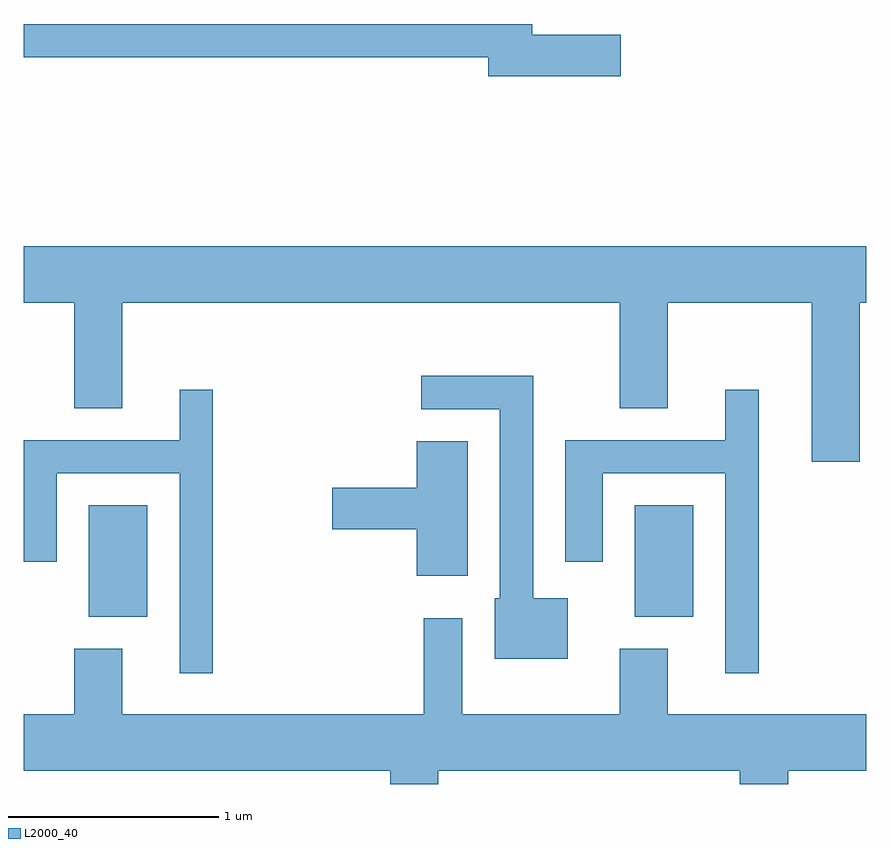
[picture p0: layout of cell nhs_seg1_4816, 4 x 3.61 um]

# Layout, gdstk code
import gdstk
lib = gdstk.Library(unit=1e-6, precision=1e-09)
def R(c, l, rs):  # rectangles x0, y0, x1, y1
    for r in rs: c.add(gdstk.rectangle(r[:2], r[2:], *l))
def P(c, l, *ps):  # polygons
    for p in ps: c.add(gdstk.Polygon(p, *l))
L2000_40 = (2000, 40)

nhs_seg1_4816 = lib.new_cell('nhs_seg1_4816')
R(nhs_seg1_4816, L2000_40, [(329.921,922.506,330.199,923.034), (332.511,922.506,332.789,923.034)])
P(nhs_seg1_4816, L2000_40, [(332.444,925.269),(332.024,925.269),(332.024,925.319),(329.611,925.319),(329.611,925.161),(331.816,925.161),(331.816,925.071),(332.444,925.071)],
  [(333.579,923.996),(333.611,923.996),(333.611,924.264),(329.611,924.264),(329.611,923.996),(329.851,923.996),(329.851,923.496),(330.079,923.496),(330.079,923.996),(332.441,923.996),(332.441,923.496),(332.669,923.496),(332.669,923.996),(333.351,923.996),(333.351,923.241),(333.579,923.241)],
  [(332.194,922.594),(332.029,922.594),(332.029,923.649),(331.498,923.649),(331.498,923.491),(331.871,923.491),(331.871,922.594),(331.846,922.594),(331.846,922.306),(332.194,922.306)],
  [(333.099,923.583),(332.941,923.583),(332.941,923.344),(332.181,923.344),(332.181,922.766),(332.359,922.766),(332.359,923.186),(332.941,923.186),(332.941,922.238),(333.099,922.238)],
  [(330.509,923.583),(330.351,923.583),(330.351,923.344),(329.611,923.344),(329.611,922.766),(329.769,922.766),(329.769,923.186),(330.351,923.186),(330.351,922.238),(330.509,922.238)],
  [(331.719,923.339),(331.476,923.339),(331.476,923.119),(331.076,923.119),(331.076,922.921),(331.476,922.921),(331.476,922.701),(331.719,922.701)],
  [(331.579,921.776),(333.011,921.776),(333.011,921.712),(333.239,921.712),(333.239,921.776),(333.611,921.776),(333.611,922.044),(332.669,922.044),(332.669,922.354),(332.441,922.354),(332.441,922.044),(331.694,922.044),(331.694,922.499),(331.511,922.499),(331.511,922.044),(330.079,922.044),(330.079,922.354),(329.851,922.354),(329.851,922.044),(329.611,922.044),(329.611,921.776),(331.351,921.776),(331.351,921.712),(331.579,921.712)])

lib.write_gds('nhs_seg1_4816.gds')
